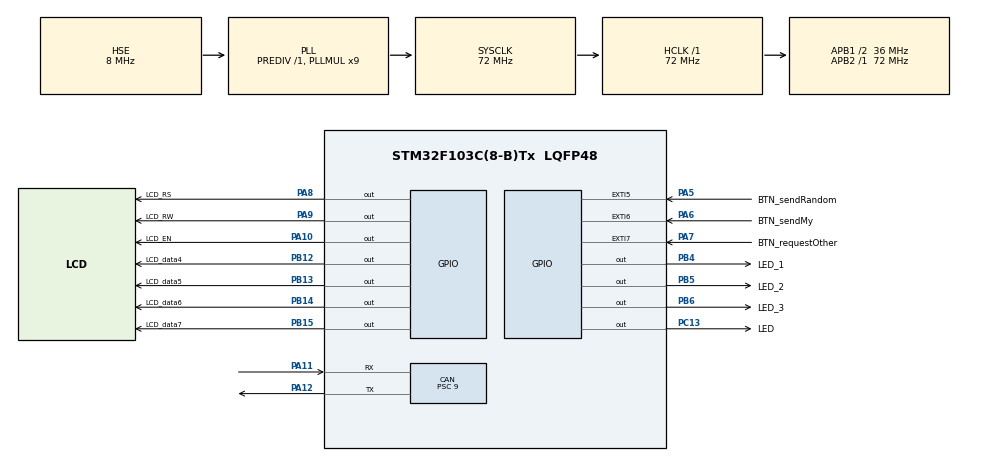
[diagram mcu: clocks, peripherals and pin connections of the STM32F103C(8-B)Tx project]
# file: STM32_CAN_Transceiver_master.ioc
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CAN.BS1=CAN_BS1_4TQ
CAN.BS2=CAN_BS2_3TQ
CAN.CalculateBaudRate=500000
CAN.CalculateTimeBit=2000.00
CAN.CalculateTimeQuantum=250.0
CAN.Mode=CAN_MODE_NORMAL
CAN.NART=ENABLE
CAN.Prescaler=9
Mcu.Family=STM32F1
Mcu.Name=STM32F103C(8-B)Tx
Mcu.Package=LQFP48
NVIC.CAN1_RX1_IRQn=true\:0\:0\:false\:false\:true\:true\:true
NVIC.CAN1_SCE_IRQn=true\:0\:0\:false\:false\:true\:true\:true
NVIC.EXTI9_5_IRQn=true\:0\:0\:false\:false\:true\:true\:true
NVIC.PriorityGroup=NVIC_PRIORITYGROUP_4
NVIC.USB_HP_CAN1_TX_IRQn=true\:0\:0\:false\:false\:true\:true\:true
NVIC.USB_LP_CAN1_RX0_IRQn=true\:0\:0\:false\:false\:true\:true\:true
PA10.GPIO_Label=LCD_EN
PA10.Signal=GPIO_Output
PA11.Mode=CAN_Activate
PA11.Signal=CAN_RX
PA12.Mode=CAN_Activate
PA12.Signal=CAN_TX
PA13.Mode=Serial_Wire
PA13.Signal=SYS_JTMS-SWDIO
PA14.Mode=Serial_Wire
PA14.Signal=SYS_JTCK-SWCLK
PA5.GPIO_Label=BTN_sendRandom
PA5.GPIO_ModeDefaultEXTI=GPIO_MODE_IT_FALLING
PA5.GPIO_PuPd=GPIO_PULLUP
PA5.Signal=GPXTI5
PA6.GPIO_Label=BTN_sendMy
PA6.GPIO_ModeDefaultEXTI=GPIO_MODE_IT_FALLING
PA6.GPIO_PuPd=GPIO_PULLUP
PA6.Signal=GPXTI6
PA7.GPIO_Label=BTN_requestOther
PA7.GPIO_ModeDefaultEXTI=GPIO_MODE_IT_FALLING
PA7.GPIO_PuPd=GPIO_PULLUP
PA7.Signal=GPXTI7
PA8.GPIO_Label=LCD_RS
PA8.Signal=GPIO_Output
PA9.GPIO_Label=LCD_RW
PA9.Signal=GPIO_Output
PB12.GPIO_Label=LCD_data4
PB12.Signal=GPIO_Output
PB13.GPIO_Label=LCD_data5
PB13.Signal=GPIO_Output
PB14.GPIO_Label=LCD_data6
PB14.Signal=GPIO_Output
PB15.GPIO_Label=LCD_data7
PB15.Signal=GPIO_Output
PB4.GPIO_Label=LED_1
PB4.PinState=GPIO_PIN_SET
PB4.Signal=GPIO_Output
PB5.GPIO_Label=LED_2
PB5.PinState=GPIO_PIN_SET
PB5.Signal=GPIO_Output
PB6.GPIO_Label=LED_3
PB6.PinState=GPIO_PIN_SET
PB6.Signal=GPIO_Output
PC13-TAMPER-RTC.GPIO_Label=LED
PC13-TAMPER-RTC.Signal=GPIO_Output
PC14-OSC32_IN.Mode=LSE-External-Oscillator
PC14-OSC32_IN.Signal=RCC_OSC32_IN
PC15-OSC32_OUT.Mode=LSE-External-Oscillator
PC15-OSC32_OUT.Signal=RCC_OSC32_OUT
PD0-OSC_IN.Mode=HSE-External-Oscillator
PD0-OSC_IN.Signal=RCC_OSC_IN
PD1-OSC_OUT.Mode=HSE-External-Oscillator
PD1-OSC_OUT.Signal=RCC_OSC_OUT
ProjectManager.HeapSize=0x200
ProjectManager.StackSize=0x400
ProjectManager.TargetToolchain=STM32CubeIDE
RCC.AHBFreq_Value=72000000
RCC.APB1CLKDivider=RCC_HCLK_DIV2
RCC.APB1Freq_Value=36000000
RCC.APB1TimFreq_Value=72000000
RCC.APB2Freq_Value=72000000
RCC.APB2TimFreq_Value=72000000
RCC.HCLKFreq_Value=72000000
RCC.PLLMUL=RCC_PLL_MUL9
RCC.PLLSourceVirtual=RCC_PLLSOURCE_HSE
RCC.SYSCLKFreq_VALUE=72000000
RCC.SYSCLKSource=RCC_SYSCLKSOURCE_PLLCLK
RCC.USBFreq_Value=72000000
TIM1.Prescaler=71
VP_TIM1_VS_ClockSourceINT.Mode=Internal
board=custom

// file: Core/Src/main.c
/* USER CODE BEGIN Header */
/**
  ******************************************************************************
  * @file           : main.c
  * @brief          : Main program body
  ******************************************************************************
  * @attention
  *
  * <h2><center>&copy; Copyright (c) 2021 STMicroelectronics.
  * All rights reserved.</center></h2>
  *
  * This software component is licensed by ST under BSD 3-Clause license,
  * the "License"; You may not use this file except in compliance with the
  * License. You may obtain a copy of the License at:
  *                        opensource.org/licenses/BSD-3-Clause
  *
  ******************************************************************************
  */
/* USER CODE END Header */
#include "main.h"

/* USER CODE BEGIN Includes */
#include "lcd.h"
#include "can.h"
#include "led.h"
/* USER CODE END Includes */

CAN_HandleTypeDef hcan;

TIM_HandleTypeDef htim1;

void SystemClock_Config(void);

static void MX_GPIO_Init(void);

static void MX_CAN_Init(void);

static void MX_TIM1_Init(void);

/* USER CODE BEGIN 0 */
void HAL_GPIO_EXTI_Callback(uint16_t GPIO_Pin) {
    if (GPIO_Pin == BTN_sendRandom_Pin) {
        CAN_sendRandomLedMessage();

    } else if (GPIO_Pin == BTN_sendMy_Pin) {
        CAN_sendLedStatusMessage(LED_getCode());

    } else if (GPIO_Pin == BTN_requestOther_Pin) {
        CAN_sendLedStatusRequestLedMessage();
    }
}
/* USER CODE END 0 */

int main(void) {

    /* MCU Configuration--------------------------------------------------------*/

    /* Reset of all peripherals, Initializes the Flash interface and the Systick. */
    HAL_Init();

    /* Configure the system clock */
    SystemClock_Config();

    /* Initialize all configured peripherals */
    MX_GPIO_Init();
    MX_CAN_Init();
    MX_TIM1_Init();
    /* USER CODE BEGIN 2 */

    HAL_TIM_Base_Start(&htim1);

    LCD_test();
    CAN_Init();
    /* USER CODE END 2 */

    /* Infinite loop */
    /* USER CODE BEGIN WHILE */
    while (1) {
        HAL_GPIO_WritePin(LED_GPIO_Port, LED_Pin, 1);
        HAL_GPIO_WritePin(LED_GPIO_Port, LED_Pin, 0);
        CAN_loopTick();
        /* USER CODE END WHILE */

    }
}

void SystemClock_Config(void) {
    RCC_OscInitTypeDef RCC_OscInitStruct = {0};
    RCC_ClkInitTypeDef RCC_ClkInitStruct = {0};

    /** Initializes the RCC Oscillators according to the specified parameters
    * in the RCC_OscInitTypeDef structure.
    */
    RCC_OscInitStruct.OscillatorType = RCC_OSCILLATORTYPE_HSE;
    RCC_OscInitStruct.HSEState = RCC_HSE_ON;
    RCC_OscInitStruct.HSEPredivValue = RCC_HSE_PREDIV_DIV1;
    RCC_OscInitStruct.HSIState = RCC_HSI_ON;
    RCC_OscInitStruct.PLL.PLLState = RCC_PLL_ON;
    RCC_OscInitStruct.PLL.PLLSource = RCC_PLLSOURCE_HSE;
    RCC_OscInitStruct.PLL.PLLMUL = RCC_PLL_MUL9;
    if (HAL_RCC_OscConfig(&RCC_OscInitStruct) != HAL_OK) {
        Error_Handler();
    }
    /** Initializes the CPU, AHB and APB buses clocks
    */
    RCC_ClkInitStruct.ClockType = RCC_CLOCKTYPE_HCLK | RCC_CLOCKTYPE_SYSCLK
                                  | RCC_CLOCKTYPE_PCLK1 | RCC_CLOCKTYPE_PCLK2;
    RCC_ClkInitStruct.SYSCLKSource = RCC_SYSCLKSOURCE_PLLCLK;
    RCC_ClkInitStruct.AHBCLKDivider = RCC_SYSCLK_DIV1;
    RCC_ClkInitStruct.APB1CLKDivider = RCC_HCLK_DIV2;
    RCC_ClkInitStruct.APB2CLKDivider = RCC_HCLK_DIV1;

    if (HAL_RCC_ClockConfig(&RCC_ClkInitStruct, FLASH_LATENCY_2) != HAL_OK) {
        Error_Handler();
    }
}

static void MX_CAN_Init(void) {

    hcan.Instance = CAN1;
    hcan.Init.Prescaler = 9;
    hcan.Init.Mode = CAN_MODE_NORMAL;
    hcan.Init.SyncJumpWidth = CAN_SJW_1TQ;
    hcan.Init.TimeSeg1 = CAN_BS1_4TQ;
    hcan.Init.TimeSeg2 = CAN_BS2_3TQ;
    hcan.Init.TimeTriggeredMode = DISABLE;
    hcan.Init.AutoBusOff = DISABLE;
    hcan.Init.AutoWakeUp = DISABLE;
    hcan.Init.AutoRetransmission = ENABLE;
    hcan.Init.ReceiveFifoLocked = DISABLE;
    hcan.Init.TransmitFifoPriority = DISABLE;
    if (HAL_CAN_Init(&hcan) != HAL_OK) {
        Error_Handler();
    }

}

static void MX_TIM1_Init(void) {

    TIM_ClockConfigTypeDef sClockSourceConfig = {0};
    TIM_MasterConfigTypeDef sMasterConfig = {0};

    htim1.Instance = TIM1;
    htim1.Init.Prescaler = 71;
    htim1.Init.CounterMode = TIM_COUNTERMODE_UP;
    htim1.Init.Period = 65535;
    htim1.Init.ClockDivision = TIM_CLOCKDIVISION_DIV1;
    htim1.Init.RepetitionCounter = 0;
    htim1.Init.AutoReloadPreload = TIM_AUTORELOAD_PRELOAD_DISABLE;
    if (HAL_TIM_Base_Init(&htim1) != HAL_OK) {
        Error_Handler();
    }
    sClockSourceConfig.ClockSource = TIM_CLOCKSOURCE_INTERNAL;
    if (HAL_TIM_ConfigClockSource(&htim1, &sClockSourceConfig) != HAL_OK) {
        Error_Handler();
    }
    sMasterConfig.MasterOutputTrigger = TIM_TRGO_RESET;
    sMasterConfig.MasterSlaveMode = TIM_MASTERSLAVEMODE_DISABLE;
    if (HAL_TIMEx_MasterConfigSynchronization(&htim1, &sMasterConfig) != HAL_OK) {
        Error_Handler();
    }

}

static void MX_GPIO_Init(void) {
    GPIO_InitTypeDef GPIO_InitStruct = {0};

    /* GPIO Ports Clock Enable */
    __HAL_RCC_GPIOC_CLK_ENABLE();
    __HAL_RCC_GPIOD_CLK_ENABLE();
    __HAL_RCC_GPIOA_CLK_ENABLE();
    __HAL_RCC_GPIOB_CLK_ENABLE();

    /*Configure GPIO pin Output Level */
    HAL_GPIO_WritePin(LED_GPIO_Port, LED_Pin, GPIO_PIN_RESET);

    /*Configure GPIO pin Output Level */
    HAL_GPIO_WritePin(GPIOB, LCD_data4_Pin | LCD_data5_Pin | LCD_data6_Pin | LCD_data7_Pin, GPIO_PIN_RESET);

    /*Configure GPIO pin Output Level */
    HAL_GPIO_WritePin(GPIOA, LCD_RS_Pin | LCD_RW_Pin | LCD_EN_Pin, GPIO_PIN_RESET);

    /*Configure GPIO pin Output Level */
    HAL_GPIO_WritePin(GPIOB, LED_1_Pin | LED_2_Pin | LED_3_Pin, GPIO_PIN_SET);

    /*Configure GPIO pin : LED_Pin */
    GPIO_InitStruct.Pin = LED_Pin;
    GPIO_InitStruct.Mode = GPIO_MODE_OUTPUT_PP;
    GPIO_InitStruct.Pull = GPIO_NOPULL;
    GPIO_InitStruct.Speed = GPIO_SPEED_FREQ_LOW;
    HAL_GPIO_Init(LED_GPIO_Port, &GPIO_InitStruct);

    /*Configure GPIO pins : BTN_sendRandom_Pin BTN_sendMy_Pin BTN_requestOther_Pin */
    GPIO_InitStruct.Pin = BTN_sendRandom_Pin | BTN_sendMy_Pin | BTN_requestOther_Pin;
    GPIO_InitStruct.Mode = GPIO_MODE_IT_FALLING;
    GPIO_InitStruct.Pull = GPIO_PULLUP;
    HAL_GPIO_Init(GPIOA, &GPIO_InitStruct);

    /*Configure GPIO pins : LCD_data4_Pin LCD_data5_Pin LCD_data6_Pin LCD_data7_Pin
                             LED_1_Pin LED_2_Pin LED_3_Pin */
    GPIO_InitStruct.Pin = LCD_data4_Pin | LCD_data5_Pin | LCD_data6_Pin | LCD_data7_Pin
                          | LED_1_Pin | LED_2_Pin | LED_3_Pin;
    GPIO_InitStruct.Mode = GPIO_MODE_OUTPUT_PP;
    GPIO_InitStruct.Pull = GPIO_NOPULL;
    GPIO_InitStruct.Speed = GPIO_SPEED_FREQ_LOW;
    HAL_GPIO_Init(GPIOB, &GPIO_InitStruct);

    /*Configure GPIO pins : LCD_RS_Pin LCD_RW_Pin LCD_EN_Pin */
    GPIO_InitStruct.Pin = LCD_RS_Pin | LCD_RW_Pin | LCD_EN_Pin;
    GPIO_InitStruct.Mode = GPIO_MODE_OUTPUT_PP;
    GPIO_InitStruct.Pull = GPIO_NOPULL;
    GPIO_InitStruct.Speed = GPIO_SPEED_FREQ_LOW;
    HAL_GPIO_Init(GPIOA, &GPIO_InitStruct);

    /* EXTI interrupt init*/
    HAL_NVIC_SetPriority(EXTI9_5_IRQn, 0, 0);
    HAL_NVIC_EnableIRQ(EXTI9_5_IRQn);

}

void Error_Handler(void) {
    __disable_irq();
    while (1) {
    }
}

/************************ (C) COPYRIGHT STMicroelectronics *****END OF FILE****/
